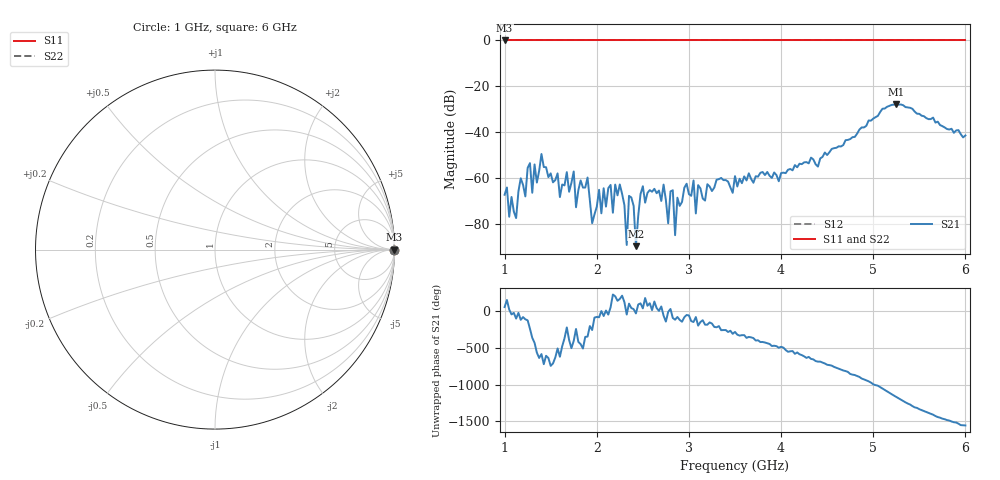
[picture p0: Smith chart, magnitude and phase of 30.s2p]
!Keysight Technologies N9926A: A.08.19
!Date: Sunday, 01 March 2026 13:31:04
!Timezone: (GMT-06:00) Central Time (US & Canada)
!Model: N9926A
!Serial: MY53102721
!GPS Latitude:
!GPS Longitude:
!GPS TimeStamp: 0001-01-01 00:00:00Z
!GPS Seconds Since Last Read: 0
!CHECKSUM:1559274611
!Correction: S11()S21(ON U)S12()S22()
!S2P File: Measurements:S11,S21,S12,S22:
# Hz S DB R 50
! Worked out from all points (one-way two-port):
!   201 points, 1 GHz to 6 GHz, reference 50 ohm
!   highest |S21| = -27.83 dB at 5.25 GHz (marker M1); lowest = -89.5 dB at 2.425 GHz (marker M2)
!   lowest |S11| = 0.0 dB at 1 GHz (marker M3)
!   |S11| at or under -10 dB: nowhere
!   |S22| runs from 0.0 to 0.0 dB; largest |S21 - S12| = 1
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1e9  0.00 0.0  -67.18 57.3  0.00 0.0  0.00 0.0
1.125e9  0.00 0.0  -77.32 -99.9  0.00 0.0  0.00 0.0
1.175e9  0.00 0.0  -59.98 -116.4  0.00 0.0  0.00 0.0
1.3e9  0.00 0.0  -66.30 -2.2  0.00 0.0  0.00 0.0
1.4e9  0.00 0.0  -49.41 135.2  0.00 0.0  0.00 0.0
1.6e9  0.00 0.0  -68.18 99.1  0.00 0.0  0.00 0.0
1.85e9  0.00 0.0  -64.04 -148.7  0.00 0.0  0.00 0.0
1.9e9  0.00 0.0  -59.66 14.3  0.00 0.0  0.00 0.0
1.95e9  0.00 0.0  -79.56 104.3  0.00 0.0  0.00 0.0
2.25e9  0.00 0.0  -62.69 168.5  0.00 0.0  0.00 0.0
2.425e9  0.00 0.0  -89.54 -29.6  0.00 0.0  0.00 0.0
2.675e9  0.00 0.0  -65.34 5.2  0.00 0.0  0.00 0.0
2.775e9  0.00 0.0  -79.60 -8.5  0.00 0.0  0.00 0.0
2.825e9  0.00 0.0  -65.20 -91.5  0.00 0.0  0.00 0.0
2.85e9  0.00 0.0  -84.76 -115.1  0.00 0.0  0.00 0.0
2.975e9  0.00 0.0  -62.35 -50.5  0.00 0.0  0.00 0.0
3.075e9  0.00 0.0  -75.30 -78.8  0.00 0.0  0.00 0.0
3.5e9  0.00 0.0  -59.05 78.3  0.00 0.0  0.00 0.0
4.35e9  0.00 0.0  -51.78 63.1  0.00 0.0  0.00 0.0
5.175e9  0.00 0.0  -28.48 -34.8  0.00 0.0  0.00 0.0
5.25e9  0.00 0.0  -27.83 -89.9  0.00 0.0  0.00 0.0
6e9  0.00 0.0  -41.36 -119.1  0.00 0.0  0.00 0.0
